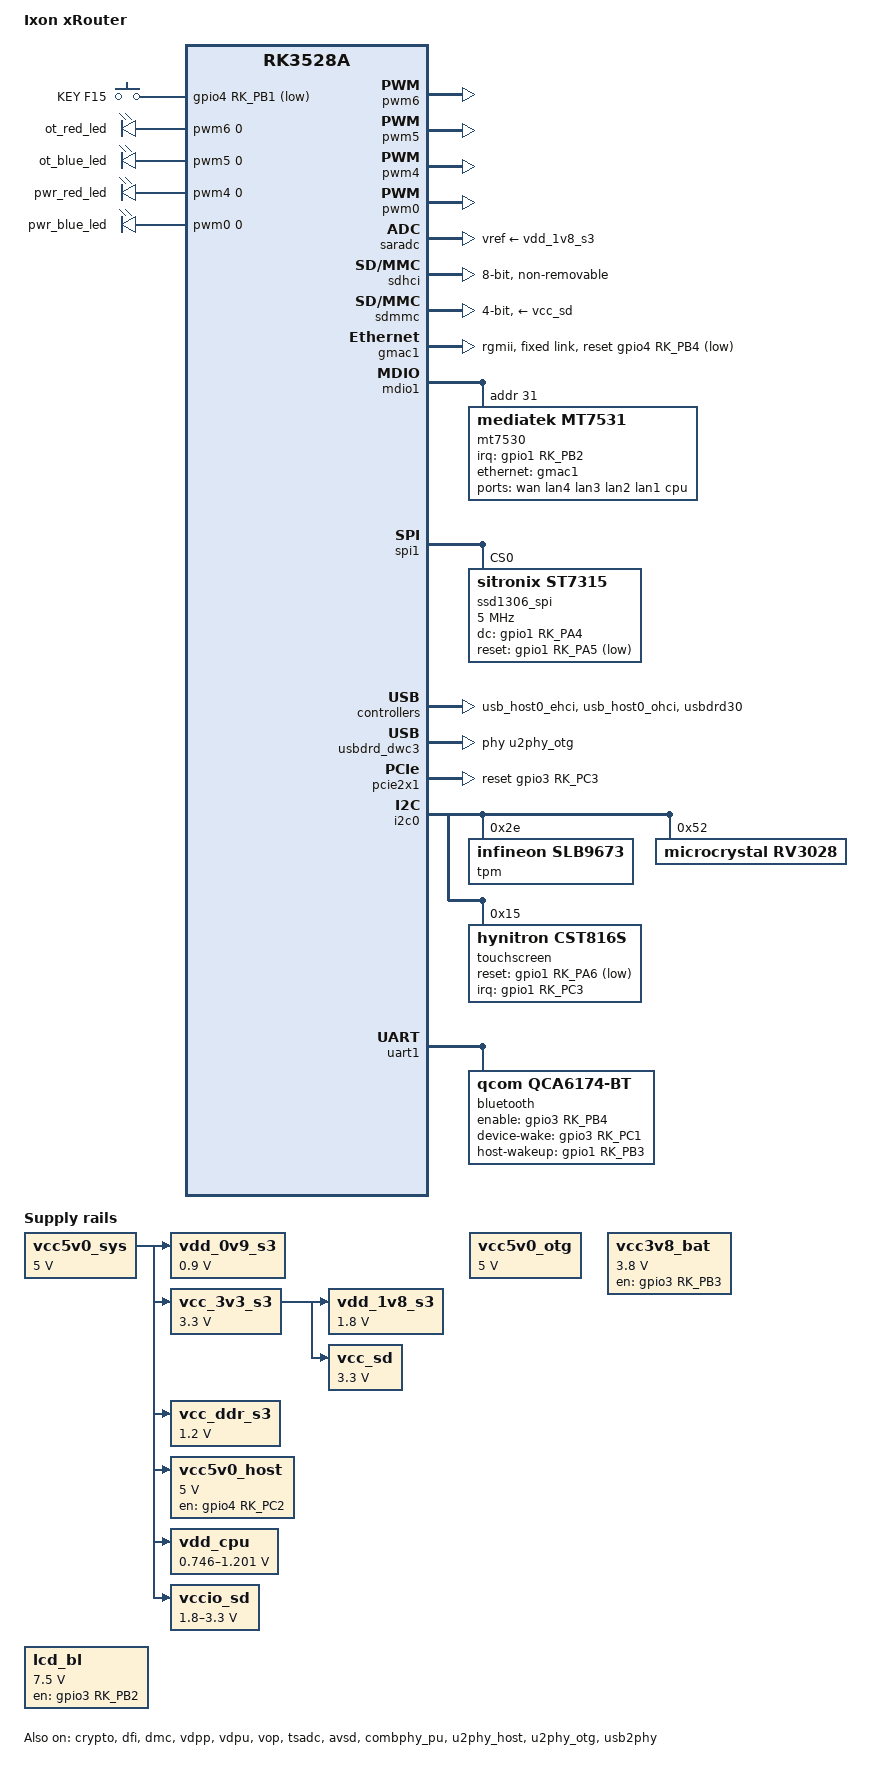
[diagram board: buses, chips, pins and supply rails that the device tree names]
// SPDX-License-Identifier: (GPL-2.0+ OR MIT)
/*
 * Copyright (c) 2022 Rockchip Electronics Co., Ltd.
 * Copyright (c) 2024 Radxa Limited
 *
 */

/dts-v1/;

#include <dt-bindings/gpio/gpio.h>
#include <dt-bindings/input/rk-input.h>
#include <dt-bindings/pinctrl/rockchip.h>
#include "rk3528.dtsi"
#include "rk3528-linux.dtsi"

/ {
	model = "Ixon xRouter";
	compatible ="rockchip,rk3528-ixon-xrouter", "rockchip,rk3528a";

	/delete-node/ chosen;

	aliases {
		mmc0 = &sdhci;
		mmc1 = &sdmmc;
		ethernet0 = &gmac1;
		ethernet1 = &gmac0;
	};

	vcc5v0_sys: vcc5v0-sys {
		compatible = "regulator-fixed";
		regulator-name = "vcc5v0_sys";
		regulator-always-on;
		regulator-boot-on;
		regulator-min-microvolt = <5000000>;
		regulator-max-microvolt = <5000000>;
	};

	vdd_0v9_s3: vdd-0v9-s3 {
		compatible = "regulator-fixed";
		regulator-name = "vdd_0v9_s3";
		regulator-always-on;
		regulator-boot-on;
		regulator-min-microvolt = <900000>;
		regulator-max-microvolt = <900000>;
		vin-supply = <&vcc5v0_sys>;
	};

	vcc_3v3_s3: vcc-3v3-s3 {
		compatible = "regulator-fixed";
		regulator-name = "vcc_3v3_s3";
		regulator-always-on;
		regulator-boot-on;
		regulator-min-microvolt = <3300000>;
		regulator-max-microvolt = <3300000>;
		vin-supply = <&vcc5v0_sys>;
	};

	vdd_1v8_s3: vdd-1v8-s3 {
		compatible = "regulator-fixed";
		regulator-name = "vdd_1v8_s3";
		regulator-always-on;
		regulator-boot-on;
		regulator-min-microvolt = <1800000>;
		regulator-max-microvolt = <1800000>;
		vin-supply = <&vcc_3v3_s3>;
	};

	vcc_ddr_s3: vcc-ddr-s3 {
		compatible = "regulator-fixed";
		regulator-name = "vcc_ddr_s3";
		regulator-always-on;
		regulator-boot-on;
		regulator-min-microvolt = <1200000>;
		regulator-max-microvolt = <1200000>;
		vin-supply = <&vcc5v0_sys>;
	};

	vcc5v0_host: vcc5v0-host-regulator {
		compatible = "regulator-fixed";
		regulator-name = "vcc5v0_host";
		regulator-boot-on;
		regulator-always-on;
		regulator-min-microvolt = <5000000>;
		regulator-max-microvolt = <5000000>;
		enable-active-high;
		gpio = <&gpio4 RK_PC2 GPIO_ACTIVE_HIGH>;
		vin-supply = <&vcc5v0_sys>;
		pinctrl-names = "default";
		pinctrl-0 = <&vcc5v0_host_en>;
	};

	vcc5v0_otg: vcc5v0-otg-regulator {
		compatible = "regulator-fixed";
		regulator-name = "vcc5v0_otg";
		regulator-min-microvolt = <5000000>;
		regulator-max-microvolt = <5000000>;
	};

	vdd_cpu: vdd-cpu {
		compatible = "pwm-regulator";
		pwms = <&pwm1 0 256 1>;
		regulator-name = "vdd_cpu";
		regulator-min-microvolt = <746000>;
		regulator-max-microvolt = <1201000>;
		regulator-init-microvolt = <953000>;
		regulator-always-on;
		regulator-boot-on;
		regulator-settling-time-up-us = <250>;
		pwm-supply = <&vcc5v0_sys>;
		status = "okay";
	};

	vccio_sd: vccio-sd {
		compatible = "regulator-gpio";
		regulator-name = "vccio_sd";
		regulator-min-microvolt = <1800000>;
		regulator-max-microvolt = <3300000>;
		gpios = <&gpio4 RK_PB6 GPIO_ACTIVE_HIGH>;
		vin-supply = <&vcc5v0_sys>;
		states = <1800000 0x0
			  3300000 0x1>;
	};

	vcc3v8_bat: vcc3v8-bat-regulator {
		compatible = "regulator-fixed";
		regulator-name = "vcc3v8_bat";
		regulator-boot-on;
		regulator-always-on;
		regulator-min-microvolt = <3800000>;
		regulator-max-microvolt = <3800000>;
		enable-active-high;
		gpio = <&gpio3 RK_PB3 GPIO_ACTIVE_HIGH>;
		pinctrl-names = "default";
		pinctrl-0 = <&vcc3v8_en>;
	};

	vcc_sd: vcc-sd {
		compatible = "regulator-fixed";
		regulator-name = "vcc_sd";
		regulator-min-microvolt = <3300000>;
		regulator-max-microvolt = <3300000>;
		vin-supply = <&vcc_3v3_s3>;
	};

	lcd_bl: lcd-bl {
        	compatible = "regulator-fixed";
		regulator-name = "lcd_bl";
		regulator-always-on;
		regulator-boot-on;
		regulator-min-microvolt = <7500000>;
		regulator-max-microvolt = <7500000>;
		enable-active-high;
        	gpios = <&gpio3 RK_PB2 GPIO_ACTIVE_HIGH>;
		pinctrl-names = "default";
		pinctrl-0 = <&lcd_bl_pins>;
    	};

	gpio-keys {
		compatible = "gpio-keys";
		pinctrl-names = "default";
		pinctrl-0 = <&user_key>;
		autorepeat;

		user-key {
			label = "KEY F15";
			linux,code = <KEY_F15>;
			gpios = <&gpio4 RK_PB1 GPIO_ACTIVE_LOW>;
			debounce-interval = <100>;
		};
	};

	led-controller {
		compatible = "pwm-leds";
		led-1 {
			label = "ot_red_led";
			pwms = <&pwm6 0 256 0>;
			max-brightness = <100>;
			default-brightness = <0>;
		};
		led-2 {
			label = "ot_blue_led";
			pwms = <&pwm5 0 256 0>;
			max-brightness = <100>;
			default-brightness = <0>;
		};
		led-3 {
			label = "pwr_red_led";
			pwms = <&pwm4 0 256 0>;
			max-brightness = <100>;
			default-brightness = <100>;
		};
		led-4 {
			label = "pwr_blue_led";
			pwms = <&pwm0 0 256 0>;
			max-brightness = <100>;
			default-brightness = <0>;
		};
	};
};

&pwm1 {
	status = "disabled";
};

// red OT LED
&pwm6 {
	status = "okay";
	pinctrl-0 = <&pwm6m0_pins>;
};

// green OT LED
&pwm5 {
	status = "okay";
	pinctrl-0 = <&pwm5m0_pins>;
};

// green PWR LED
&pwm4 {
	status = "okay";
	pinctrl-0 = <&pwm4m0_pins>;
};

// red PWR LED
&pwm0 {
	status = "okay";
	pinctrl-0 = <&pwm0m0_pins>;
};

&cpu0 {
	cpu-supply = <&vdd_cpu>;
};

&crypto {
	status = "okay";
};

&dfi {
	status = "okay";
};

&dmc {
	status = "okay";
};

&gpu {
	status = "disabled";
};

&gpu_bus {
	status = "disabled";
};

&display_subsystem {
	status = "disabled";
};

&iep {
	status = "disabled";
};

&iep_mmu {
	status = "disabled";
};

&jpegd {
	status = "disabled";
};

&jpegd_mmu {
	status = "disabled";
};

&mpp_srv {
	status = "disabled";
};

&rga2 {
	status = "disabled";
};

&rga2_mmu {
	status = "disabled";
};

&rkvdec {
	status = "disabled";
};

&rkvdec_mmu {
	status = "disabled";
};

&rkvenc {
	status = "disabled";
};

&rkvenc_mmu {
	status = "disabled";
};

&rkvtunnel {
	status = "off";
};

&rockchip_suspend {
	status = "okay";
	rockchip,sleep-debug-en = <1>;
	rockchip,virtual-poweroff = <1>;
	rockchip,sleep-mode-config = <
		(0
		| RKPM_SLP_ARMPD
		)
	>;
	rockchip,wakeup-config = <
		(0
		| RKPM_CPU0_WKUP_EN
		| RKPM_GPIO_WKUP_EN
		)
	>;
	rockchip,pwm-regulator-config = <
		(0
		| RKPM_PWM0_M0_REGULATOR_EN
		| RKPM_PWM1_M0_REGULATOR_EN
		)
	>;
};

&vdpp {
	status = "okay";
};

&vdpu {
	status = "okay";
};

&vdpu_mmu {
	status = "okay";
};

&vop {
	status = "okay";
};

&vop_mmu {
	status = "okay";
};

&tsadc {
	status = "okay";
};

&saradc {
	status = "okay";
	vref-supply = <&vdd_1v8_s3>;
};

&avsd {
	status = "okay";
};

&sdhci {
	bus-width = <8>;
	no-sd;
	no-sdio;
	non-removable;
	mmc-hs400-1_8v;
	mmc-hs400-enhanced-strobe;
	max-frequency = <200000000>;
	status = "okay";
};

&sdmmc {
	bus-width = <4>;
	cap-mmc-highspeed;
	cap-sd-highspeed;
	disable-wp;
	max-frequency = <150000000>;
	pinctrl-names = "default";
	pinctrl-0 = <&sdmmc_clk &sdmmc_cmd &sdmmc_det &sdmmc_bus4>;
	rockchip,default-sample-phase = <90>;
	supports-sd;
	sd-uhs-sdr12;
	sd-uhs-sdr25;
	sd-uhs-sdr50;
	sd-uhs-sdr104;
	vqmmc-supply = <&vccio_sd>;
	vmmc-supply = <&vcc_sd>;
	status = "okay";
};

&gmac0 {
	status = "disabled";
};

&gmac1 {
	status = "okay";
	snps,reset-gpio = <&gpio4 RK_PB4 GPIO_ACTIVE_LOW>;
	snps,reset-active-low;
	/* Reset time is 20ms, 100ms for rtl8211f */
	snps,reset-delays-us = <0 20000 100000>;

	pinctrl-names = "default";
	pinctrl-0 = <&rgmii_miim
		     &rgmii_tx_bus2
		     &rgmii_rx_bus2
		     &rgmii_rgmii_clk
		     &rgmii_rgmii_bus>;

	clock_in_out = "output";
	phy-mode = "rgmii";
	tx_delay = <0x4f>;
	rx_delay = <0x0f>;

	fixed-link {
		speed = <1000>;
		full-duplex;
		pause;
	};
};

&mdio1 {
	#address-cells = <1>;
	#size-cells = <0>;

	mt7530: switch@1f {
		compatible = "mediatek,mt7531";
		reg = <0x1f>;
		#address-cells = <1>;
		#size-cells = <0>;
		interrupt-controller;
		interrupt-parent = <&gpio1>;
		interrupts = <RK_PB2 IRQ_TYPE_LEVEL_HIGH>;
		// reset-gpios = <&gpio4 RK_PB4 GPIO_ACTIVE_HIGH>;

		ports {
			#address-cells = <1>;
			#size-cells = <0>;

			port@0 {
				reg = <0>;
				label = "wan";
			};

			port@1 {
				reg = <1>;
				label = "lan4";
			};

			port@2 {
				reg = <2>;
				label = "lan3";
			};

			port@3 {
				reg = <3>;
				label = "lan2";
			};

			port@4 {
				reg = <4>;
				label = "lan1";
			};

			port@5 {
				reg = <5>;
				label = "cpu";
				ethernet = <&gmac1>;
				phy-mode = "rgmii";

				fixed-link {
					speed = <1000>;
					full-duplex;
				};
			};
		};
	};
};

&spi1 {
	status = "okay";
	max-freq = <24000000>;
	pinctrl-0 = <&spi1_pins &spi1_csn0>;

	ssd1306_spi: oled@0 {
		compatible = "sitronix,st7315"; /*"solomon,ssd1306"; */
		reg = <0x0>;
		spi-max-frequency = <5000000>;
		buswidth = <0x8>;
		spi-cpha;
        	spi-cpol;

		/* Required GPIO pins */
		dc-gpios = <&gpio1 RK_PA4 GPIO_ACTIVE_HIGH>;     /* Data/Command pin */
		reset-gpios = <&gpio1 RK_PA5 GPIO_ACTIVE_LOW>;  /* Reset pin */
	};
};

&combphy_pu {
	status = "okay";
};

&u2phy_host {
	phy-supply = <&vcc5v0_host>;
	status = "okay";
};

&u2phy_otg {
	vbus-supply = <&vcc5v0_otg>;
	status = "okay";
};

&usb2phy {
	status = "okay";
};

&usb_host0_ehci {
	status = "okay";
};

&usb_host0_ohci {
	status = "okay";
};

&usbdrd30 {
	status = "okay";
};

&usbdrd_dwc3 {
	extcon = <&usb2phy>;
	phys = <&u2phy_otg>;
	phy-names = "usb2-phy";
	maximum-speed = "high-speed";
	snps,dis_u2_susphy_quirk;
	snps,usb2-lpm-disable;
	status = "okay";
};

&pcie2x1 {
	status = "okay";
	pinctrl-0 = <&pciem1_pins>;
	pinctrl-1 = <&wlanen_pins>;
	reset-gpios = <&gpio3 RK_PC3 GPIO_ACTIVE_HIGH>;
};

&i2c0 {
	status = "okay";
	pinctrl-names = "default";
	pinctrl-0 = <&i2c0m1_xfer>;

	tpm@2e {
		compatible = "infineon,slb9673","tcg,tpm-tis-i2c" ;
		reg = <0x2e>;
		pinctrl-names = "default";
		pinctrl-0 = <&slb9673_gpio>;
		status = "okay";
	};
	rv3028@52 {
		status = "okay";
		compatible = "microcrystal,rv3028";
		reg = <0x52>;
		backup-switchover-mode = <0x01>;
		trickle-resistor-ohms = <3000>;
	};
	touchscreen@15 {
		compatible = "hynitron,cst816s";
		reg = <0x15>;
		pinctrl-0 = <&touch_panel_gpio>;
		interrupt-parent = <&gpio1>;	//Parent of interrupt.
		interrupts = <RK_PC3 IRQ_TYPE_EDGE_RISING>;	//Configuration of touch panel  interrupt controller.
		reset-gpios = <&gpio1 RK_PA6 GPIO_ACTIVE_LOW>;
      };
};

&uart1 {
	pinctrl-names = "default";
	pinctrl-0 = <&uart1m0_xfer &uart1_ctsn &uart1_rtsn>;
	status = "okay";
	bluetooth {
		compatible = "qcom,qca6174-bt";
		firmware-name = "nvm_00440302.bin";
		pinctrl-names = "default";
		pinctrl-0 = <&ble_pins>;
		enable-gpios = <&gpio3 RK_PB4 GPIO_ACTIVE_HIGH>;
		device-wake-gpios = <&gpio3 RK_PC1  GPIO_ACTIVE_HIGH>; /* PL5 */
		host-wakeup-gpios = <&gpio1 RK_PB3  GPIO_ACTIVE_HIGH>; /* PL6 */
	};
};

&pinctrl {
	usb {
		vcc5v0_host_en: vcc5v0-host-en {
			rockchip,pins = <4 RK_PC2 RK_FUNC_GPIO &pcfg_pull_none>;
		};
	};

	lte {
		vcc3v8_en: vcc3v8-en {
			rockchip,pins = <3 RK_PB3 RK_FUNC_GPIO &pcfg_pull_none>;
		};
	};

	ble {
		ble_pins: ble-pins {
			rockchip,pins = <3 RK_PB4 RK_FUNC_GPIO &pcfg_pull_up>, // BLE EN
					<3 RK_PC1 RK_FUNC_GPIO &pcfg_pull_none>, // BT_DEV_WAKE
					<1 RK_PB3 RK_FUNC_GPIO &pcfg_pull_none>; // BT_HOST_WAKE
		};
	};

	keys {
		user_key: user-key {
			rockchip,pins = <4 RK_PB1 RK_FUNC_GPIO &pcfg_pull_up>;
		};
	};

	lcd {
		display_pins: lcd-pins {
			rockchip,pins = <1 RK_PA5 RK_FUNC_GPIO &pcfg_pull_none>, //Reset
			 		<1 RK_PA4 RK_FUNC_GPIO &pcfg_pull_none>; //DnC
		};
		lcd_bl_pins: lcd-bl-pins {
			rockchip,pins = <3 RK_PB2 RK_FUNC_GPIO &pcfg_pull_none>;
		};
	};

	slb9673 {
		slb9673_gpio: slb9673-gpio{
			rockchip,pins =
			/*TPM_RST*/
			<4 RK_PA3 RK_FUNC_GPIO &pcfg_pull_up>;
		};
	};

	switch1{
		switch1_gpio: switch1-gpio {
			rockchip,pins =
				<4 RK_PB4 RK_FUNC_GPIO &pcfg_pull_none>,
				<1 RK_PB2 RK_FUNC_GPIO &pcfg_pull_none>;
		};
	};

	pcie {
		wlanen_pins: wlanen_pins {
			rockchip,pins =
				<3 RK_PC3 RK_FUNC_GPIO &pcfg_pull_up>; /* wlan_en */
		};
	};

	touchscreen {
		touch_panel_gpio: touch_panel_gpio{
			rockchip,pins =
			<1  RK_PA6 RK_FUNC_GPIO &pcfg_pull_up>, //Reset pin should have external 10 kOmh resistor.
			<1  RK_PC3 RK_FUNC_GPIO &pcfg_pull_up>;	//Interupt pin
		};
	};
};
